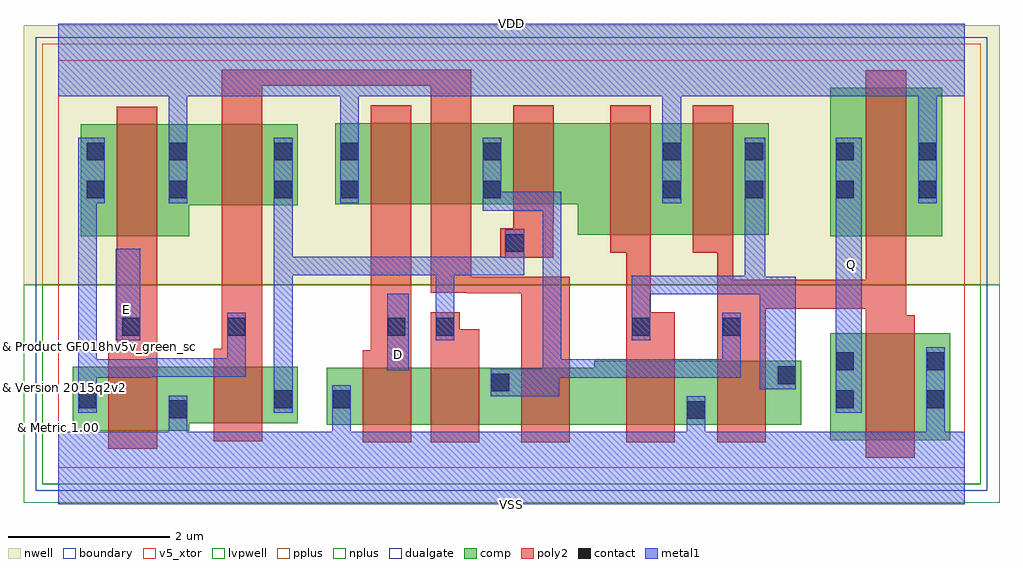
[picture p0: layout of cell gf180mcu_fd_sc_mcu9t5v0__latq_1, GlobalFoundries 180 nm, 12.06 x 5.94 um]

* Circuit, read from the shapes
.subckt gf180mcu_fd_sc_mcu9t5v0__latq_1 D E Q VDD VSS
XM1 VSS E n1 VSUBS nfet_05v0 w=0.79u l=0.6u
XM2 n2 n1 VSS VSUBS nfet_05v0 w=0.7u l=0.6u
XM3 n3 D VSS VSUBS nfet_05v0 w=0.7u l=0.6u
XM4 n4 n2 n3 VSUBS nfet_05v0 w=0.7u l=0.6u
XM5 n5 n1 n4 VSUBS nfet_05v0 w=0.7u l=0.6u
XM6 VSS n6 n5 VSUBS nfet_05v0 w=0.79u l=0.6u
XM7 n6 n4 VSS VSUBS nfet_05v0 w=0.79u l=0.6u
XM8 VSS n4 Q VSUBS nfet_05v0 w=1.32u l=0.6u
XM9 VDD E n1 n7 pfet_05v0 w=1.38u l=0.5u
XM10 n2 n1 VDD n7 pfet_05v0 w=1u l=0.5u
XM11 n8 D VDD n7 pfet_05v0 w=1u l=0.5u
XM12 n4 n1 n8 n7 pfet_05v0 w=1u l=0.5u
XM13 n9 n2 n4 n7 pfet_05v0 w=1u l=0.5u
XM14 VDD n6 n9 n7 pfet_05v0 w=1.38u l=0.5u
XM15 n6 n4 VDD n7 pfet_05v0 w=1.38u l=0.5u
XM16 VDD n4 Q n7 pfet_05v0 w=1.83u l=0.5u
.ends

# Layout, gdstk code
import gdstk
lib = gdstk.Library(unit=1e-6, precision=1e-09)
def R(c, l, rs):  # rectangles x0, y0, x1, y1
    for r in rs: c.add(gdstk.rectangle(r[:2], r[2:], *l))
def P(c, l, *ps):  # polygons
    for p in ps: c.add(gdstk.Polygon(p, *l))
boundary = (0, 0)
nwell = (21, 0)
comp = (22, 0)
poly2 = (30, 0)
pplus = (31, 0)
nplus = (32, 0)
contact = (33, 0)
metal1 = (34, 0)
dualgate = (55, 0)
v5_xtor = (112, 1)
lvpwell = (204, 0)

gf180mcu_fd_sc_mcu9t5v0_ = lib.new_cell('gf180mcu_fd_sc_mcu9t5v0__latq_1')
R(gf180mcu_fd_sc_mcu9t5v0_, boundary, [(0,0,11.2,5.04)])
R(gf180mcu_fd_sc_mcu9t5v0_, nwell, [(-0.43,2.265,11.63,5.47)])
R(gf180mcu_fd_sc_mcu9t5v0_, comp, [(9.54,0.345,11.02,1.665), (9.54,2.865,10.92,4.695)])
P(gf180mcu_fd_sc_mcu9t5v0_, comp, [(0.18,0.46),(0.18,1.25),(2.96,1.25),(2.96,0.55),(1.62,0.55),(1.62,0.46)],
  [(0.28,2.865),(0.28,4.245),(2.96,4.245),(2.96,3.245),(1.62,3.245),(1.62,2.865)],
  [(6.42,2.88),(6.42,3.26),(3.42,3.26),(3.42,4.26),(8.78,4.26),(8.78,2.88)],
  [(3.32,0.535),(3.32,1.235),(6.62,1.235),(6.62,1.325),(9.18,1.325),(9.18,0.535)])
P(gf180mcu_fd_sc_mcu9t5v0_, poly2, [(0.62,0.24),(0.62,1.47),(0.72,1.47),(0.72,4.465),(1.22,4.465),(1.22,0.24)],
  [(3.76,0.315),(3.76,1.455),(3.86,1.455),(3.86,4.48),(4.36,4.48),(4.36,0.315)],
  [(4.6,0.315),(4.6,1.925),(4.96,1.925),(4.96,1.715),(5.2,1.715),(5.2,0.315)],
  [(5.46,2.6),(5.46,2.96),(5.62,2.96),(5.62,4.48),(6.12,4.48),(6.12,3.04),(6.115,3.04),(6.115,2.6)],
  [(5.72,0.315),(5.72,2.16),(5.055,2.16),(5.055,2.165),(4.6,2.165),(4.6,4.72),(2.52,4.72),(2.52,0.33),(1.92,0.33),(1.92,1.47),(2.02,1.47),(2.02,4.92),(5.1,4.92),(5.1,2.36),(6.32,2.36),(6.32,0.315)],
  [(7.02,0.315),(7.02,2.66),(6.82,2.66),(6.82,4.48),(7.32,4.48),(7.32,1.925),(7.62,1.925),(7.62,0.315)],
  [(9.98,0.125),(9.98,1.965),(8.74,1.965),(8.74,0.315),(8.14,0.315),(8.14,2.66),(7.84,2.66),(7.84,4.48),(8.34,4.48),(8.34,2.325),(9.98,2.325),(9.98,4.915),(10.48,4.915),(10.48,1.885),(10.58,1.885),(10.58,0.125)])
R(gf180mcu_fd_sc_mcu9t5v0_, pplus, [(-0.2,2.265,11.4,5.24)])
R(gf180mcu_fd_sc_mcu9t5v0_, nplus, [(-0.2,-0.2,11.4,2.265)])
R(gf180mcu_fd_sc_mcu9t5v0_, contact, [(7.77,0.605,7.99,0.825), (1.37,0.615,1.59,0.835), (0.25,0.74,0.47,0.96), (2.67,0.74,2.89,0.96), (3.39,0.74,3.61,0.96), (9.61,0.74,9.83,0.96), (10.73,0.74,10.95,0.96), (5.35,0.945,5.57,1.165), (8.89,1.035,9.11,1.255), (9.61,1.21,9.83,1.43), (10.73,1.21,10.95,1.43), (0.79,1.635,1.01,1.855), (2.09,1.635,2.31,1.855), (4.07,1.635,4.29,1.855), (4.67,1.635,4.89,1.855), (7.09,1.635,7.31,1.855), (8.21,1.635,8.43,1.855), (5.53,2.67,5.75,2.89), (0.35,3.33,0.57,3.55), (1.37,3.33,1.59,3.55), (2.67,3.33,2.89,3.55), (3.49,3.33,3.71,3.55), (5.25,3.33,5.47,3.55), (7.47,3.33,7.69,3.55), (8.49,3.33,8.71,3.55), (9.61,3.33,9.83,3.55), (10.63,3.33,10.85,3.55), (0.35,3.8,0.57,4.02), (1.37,3.8,1.59,4.02), (2.67,3.8,2.89,4.02), (3.49,3.8,3.71,4.02), (5.25,3.8,5.47,4.02), (7.47,3.8,7.69,4.02), (8.49,3.8,8.71,4.02), (9.61,3.8,9.83,4.02), (10.63,3.8,10.85,4.02)])
R(gf180mcu_fd_sc_mcu9t5v0_, metal1, [(9.605,0.68,9.93,4.08), (4.065,1.21,4.33,2.15), (0.71,1.575,1.015,2.71)])
P(gf180mcu_fd_sc_mcu9t5v0_, metal1, [(0.245,0.68),(0.245,4.08),(0.575,4.08),(0.575,3.27),(0.475,3.27),(0.475,1.345),(1.085,1.345),(1.085,1.355),(2.085,1.355),(2.085,1.915),(2.315,1.915),(2.315,1.125),(1.155,1.125),(1.155,1.115),(0.475,1.115),(0.475,0.68)],
  [(2.665,0.68),(2.665,4.08),(2.895,4.08),(2.895,2.61),(5.525,2.61),(5.525,2.95),(5.755,2.95),(5.755,2.38),(4.895,2.38),(4.895,1.575),(4.665,1.575),(4.665,2.38),(2.895,2.38),(2.895,0.68)],
  [(5.345,0.885),(5.345,1.225),(5.985,1.225),(5.985,3.18),(5.245,3.18),(5.245,4.08),(5.475,4.08),(5.475,3.41),(6.215,3.41),(6.215,1.345),(8.205,1.345),(8.205,1.915),(8.435,1.915),(8.435,1.115),(6.19,1.115),(6.19,0.885)],
  [(8.665,0.975),(8.665,2.145),(7.315,2.145),(7.315,1.575),(7.085,1.575),(7.085,2.375),(8.485,2.375),(8.485,4.08),(8.735,4.08),(8.735,2.365),(9.115,2.365),(9.115,0.975)],
  [(0,-0.45),(0,0.45),(1.365,0.45),(1.365,0.895),(1.595,0.895),(1.595,0.45),(3.385,0.45),(3.385,1.02),(3.615,1.02),(3.615,0.45),(7.765,0.45),(7.765,0.885),(7.995,0.885),(7.995,0.45),(10.725,0.45),(10.725,1.49),(10.955,1.49),(10.955,0.45),(11.2,0.45),(11.2,-0.45)],
  [(1.365,3.27),(1.365,4.59),(0,4.59),(0,5.49),(11.2,5.49),(11.2,4.59),(10.855,4.59),(10.855,3.27),(10.625,3.27),(10.625,4.59),(7.695,4.59),(7.695,3.27),(7.465,3.27),(7.465,4.59),(3.715,4.59),(3.715,3.27),(3.485,3.27),(3.485,4.59),(1.595,4.59),(1.595,3.27)])
R(gf180mcu_fd_sc_mcu9t5v0_, dualgate, [(-0.28,-0.28,11.48,5.32)])
R(gf180mcu_fd_sc_mcu9t5v0_, v5_xtor, [(0,0,11.2,5.04)])
R(gf180mcu_fd_sc_mcu9t5v0_, lvpwell, [(-0.43,-0.43,11.63,2.265)])
gf180mcu_fd_sc_mcu9t5v0_.add(gdstk.Label('D', (4.2,1.4), layer=34, texttype=10))
gf180mcu_fd_sc_mcu9t5v0_.add(gdstk.Label('E', (0.84,1.96), layer=34, texttype=10))
gf180mcu_fd_sc_mcu9t5v0_.add(gdstk.Label('Q', (9.8,2.52), layer=34, texttype=10))
gf180mcu_fd_sc_mcu9t5v0_.add(gdstk.Label('VDD', (5.6,5.49), layer=34, texttype=10))
gf180mcu_fd_sc_mcu9t5v0_.add(gdstk.Label('VSS', (5.6,-0.45), layer=34, texttype=10))
gf180mcu_fd_sc_mcu9t5v0_.add(gdstk.Label('& Vendor GLOBALFOUNDRIES', (0,2), layer=63, texttype=63))
gf180mcu_fd_sc_mcu9t5v0_.add(gdstk.Label('& Product GF018hv5v_green_sc9', (0,1.5), layer=63, texttype=63))
gf180mcu_fd_sc_mcu9t5v0_.add(gdstk.Label('& Version 2015q2v2', (0,1), layer=63, texttype=63))
gf180mcu_fd_sc_mcu9t5v0_.add(gdstk.Label('& Metric 1.00', (0,0.5), layer=63, texttype=63))

lib.write_gds('gf180mcu_fd_sc_mcu9t5v0__latq_1.gds')
